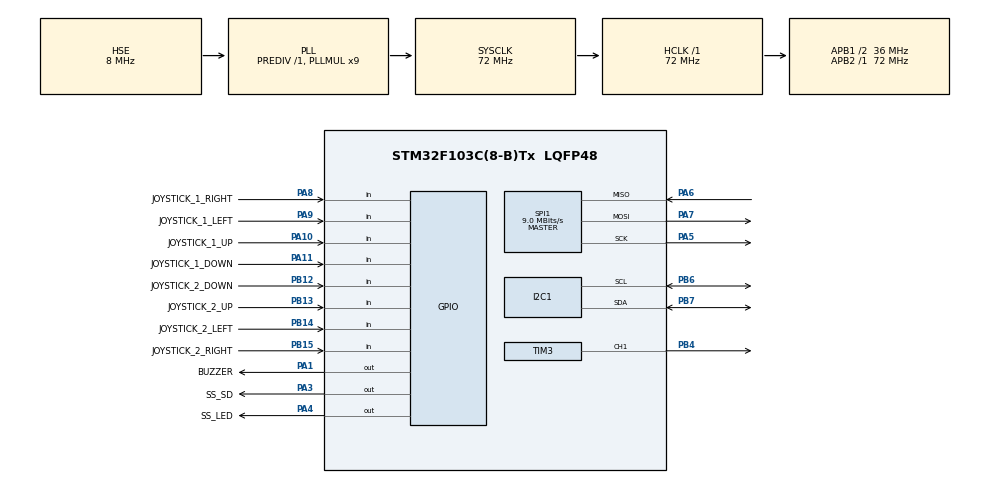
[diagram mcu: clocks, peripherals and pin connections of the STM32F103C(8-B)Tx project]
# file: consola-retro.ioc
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Mcu.Family=STM32F1
Mcu.Name=STM32F103C(8-B)Tx
Mcu.Package=LQFP48
NVIC.PriorityGroup=NVIC_PRIORITYGROUP_4
NVIC.TIM1_UP_IRQn=true\:15\:0\:false\:false\:true\:false\:true
NVIC.TimeBase=TIM1_UP_IRQn
NVIC.TimeBaseIP=TIM1
PA1.GPIO_Label=BUZZER
PA1.Signal=GPIO_Output
PA10.GPIO_Label=JOYSTICK_1_UP
PA10.Signal=GPIO_Input
PA11.GPIO_Label=JOYSTICK_1_DOWN
PA11.Signal=GPIO_Input
PA13.Mode=Serial_Wire
PA13.Signal=SYS_JTMS-SWDIO
PA14.Mode=Serial_Wire
PA14.Signal=SYS_JTCK-SWCLK
PA3.GPIO_Label=SS_SD
PA3.Signal=GPIO_Output
PA4.GPIO_Label=SS_LED
PA4.Signal=GPIO_Output
PA5.Mode=Full_Duplex_Master
PA5.Signal=SPI1_SCK
PA6.Mode=Full_Duplex_Master
PA6.Signal=SPI1_MISO
PA7.Mode=Full_Duplex_Master
PA7.Signal=SPI1_MOSI
PA8.GPIO_Label=JOYSTICK_1_RIGHT
PA8.Signal=GPIO_Input
PA9.GPIO_Label=JOYSTICK_1_LEFT
PA9.Signal=GPIO_Input
PB12.GPIO_Label=JOYSTICK_2_DOWN
PB12.Signal=GPIO_Input
PB13.GPIO_Label=JOYSTICK_2_UP
PB13.Signal=GPIO_Input
PB14.GPIO_Label=JOYSTICK_2_LEFT
PB14.Signal=GPIO_Input
PB15.GPIO_Label=JOYSTICK_2_RIGHT
PB15.Signal=GPIO_Input
PB4.Signal=S_TIM3_CH1
PB6.Mode=I2C
PB6.Signal=I2C1_SCL
PB7.Mode=I2C
PB7.Signal=I2C1_SDA
PD0-OSC_IN.Mode=HSE-External-Oscillator
PD0-OSC_IN.Signal=RCC_OSC_IN
PD1-OSC_OUT.Mode=HSE-External-Oscillator
PD1-OSC_OUT.Signal=RCC_OSC_OUT
ProjectManager.HeapSize=0x200
ProjectManager.StackSize=0x400
ProjectManager.TargetToolchain=STM32CubeIDE
RCC.AHBFreq_Value=72000000
RCC.APB1CLKDivider=RCC_HCLK_DIV2
RCC.APB1Freq_Value=36000000
RCC.APB1TimFreq_Value=72000000
RCC.APB2Freq_Value=72000000
RCC.APB2TimFreq_Value=72000000
RCC.HCLKFreq_Value=72000000
RCC.PLLMUL=RCC_PLL_MUL9
RCC.PLLSourceVirtual=RCC_PLLSOURCE_HSE
RCC.SYSCLKFreq_VALUE=72000000
RCC.SYSCLKSource=RCC_SYSCLKSOURCE_PLLCLK
RCC.USBFreq_Value=72000000
SH.S_TIM3_CH1.0=TIM3_CH1,PWM Generation1 CH1
SPI1.BaudRatePrescaler=SPI_BAUDRATEPRESCALER_8
SPI1.CalculateBaudRate=9.0 MBits/s
SPI1.Direction=SPI_DIRECTION_2LINES
SPI1.Mode=SPI_MODE_MASTER
SPI1.VirtualType=VM_MASTER
TIM3.Channel-PWM\ Generation1\ CH1=TIM_CHANNEL_1
TIM3.Period=20
TIM3.Prescaler=107
VP_RTC_VS_RTC_Activate.Mode=RTC_Enabled
VP_SYS_VS_tim1.Mode=TIM1
VP_TIM2_VS_ClockSourceINT.Mode=Internal
VP_TIM3_VS_ClockSourceINT.Mode=Internal
board=custom

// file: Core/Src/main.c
/* USER CODE BEGIN Header */
/**
  ******************************************************************************
  * @file           : main.c
  * @brief          : Main program body
  ******************************************************************************
  * @attention
  *
  * <h2><center>&copy; Copyright (c) 2023 STMicroelectronics.
  * All rights reserved.</center></h2>
  *
  * This software component is licensed by ST under BSD 3-Clause license,
  * the "License"; You may not use this file except in compliance with the
  * License. You may obtain a copy of the License at:
  *                        opensource.org/licenses/BSD-3-Clause
  *
  ******************************************************************************
  */
/* USER CODE END Header */
#include "main.h"

/* USER CODE BEGIN Includes */
#include "FreeRTOS.h"
#include "task.h"
#include "queue.h"

#include "DOT_MATRIX.h"
#include "lcd1602_i2c.h"
#include "joystick.h"
#include "menu.h"
#include "pong.h"
#include "snake.h"
#include "tetris.h"
#include "conway.h"
#include "buzzer.h"
#include <stdio.h>
/* USER CODE END Includes */

I2C_HandleTypeDef hi2c1;

RTC_HandleTypeDef hrtc;

SPI_HandleTypeDef hspi1;

TIM_HandleTypeDef htim2;
TIM_HandleTypeDef htim3;

/* USER CODE BEGIN PV */

QueueHandle_t joysticks_queue;
QueueHandle_t game_queue;
QueueHandle_t buzzer_queue;

/* USER CODE END PV */

void SystemClock_Config(void);
static void MX_GPIO_Init(void);
static void MX_I2C1_Init(void);
static void MX_SPI1_Init(void);
static void MX_TIM2_Init(void);
static void MX_TIM3_Init(void);
static void MX_RTC_Init(void);

/* USER CODE BEGIN 0 */

static void main_task(void *pvParameters){

	typedef enum {
		STATE_WELCOME_SHOW,
		STATE_WELCOME_DELAY,
		STATE_WELCOME_CLEAR,

		STATE_MENU_SHOW,
		STATE_MENU_HANDLE,
		STATE_MENU_CLEAR,

		STATE_GAME_0_MENU_SHOW,
		STATE_GAME_0_MENU_HANDLE,
		STATE_GAME_0_PLAY,
		STATE_GAME_0_RULES_SHOW,
		STATE_GAME_0_RULES_HANDLE,
		STATE_GAME_0_RECORDS_SHOW,
		STATE_GAME_0_RECORDS_HANDLE,

		STATE_GAME_1_MENU_SHOW,
		STATE_GAME_1_MENU_HANDLE,
		STATE_GAME_1_PLAY,
		STATE_GAME_1_RULES_SHOW,
		STATE_GAME_1_RULES_HANDLE,
		STATE_GAME_1_RECORDS_SHOW,
		STATE_GAME_1_RECORDS_HANDLE,

		STATE_GAME_2_MENU_SHOW,
		STATE_GAME_2_MENU_HANDLE,
		STATE_GAME_2_PLAY,
		STATE_GAME_2_RULES_SHOW,
		STATE_GAME_2_RULES_HANDLE,
		STATE_GAME_2_RECORDS_SHOW,
		STATE_GAME_2_RECORDS_HANDLE,

		STATE_GAME_3_MENU_SHOW,
		STATE_GAME_3_MENU_HANDLE,
		STATE_GAME_3_OPTIONS_SHOW,
		STATE_GAME_3_OPTIONS,
		STATE_GAME_3_PLAY,
		STATE_GAME_3_RULES_SHOW,
		STATE_GAME_3_RULES_HANDLE,
		STATE_GAME_3_RECORDS_SHOW,
		STATE_GAME_3_RECORDS_HANDLE,

		TEST_DIE
	} main_state_t;

	static main_state_t main_state = STATE_WELCOME_SHOW; //STATE_WELCOME_SHOW;
	static main_state_t next_state;
	static uint32_t start_ticks, delay_ticks;
	uint8_t buzzer_data;

	while(1){
		switch(main_state){
		case STATE_WELCOME_SHOW:
			if(lcd_progressive_print("                    ",
									 " CONSOLA DE JUEGOS  ",
									 "       RETRO        ",
									 "                    ",
									 FOUR_LINES)){
				delay_ticks = 2000;
				start_ticks = HAL_GetTick();
				buzzer_data = OPENING_MELODY;
				xQueueSendToBack(buzzer_queue, &buzzer_data, 0);
				main_state = STATE_WELCOME_DELAY;
			}
			break;
		case STATE_WELCOME_DELAY:
			if(HAL_GetTick() - start_ticks > delay_ticks){
				main_state = STATE_WELCOME_CLEAR;
			}
			break;
		case STATE_WELCOME_CLEAR:
			if(lcd_progressive_clear(FOUR_LINES)){
				main_state = STATE_MENU_SHOW;
			}
			break;
		case STATE_MENU_SHOW:
			if(lcd_progressive_print("   MENU PRINCIPAL   ",
									 "Seleccione un juego:",
									 "  Pong      Tetris  ",
									 "  Snake     Conway  ",
									 FOUR_LINES)){
				main_state = STATE_MENU_HANDLE;
			}
			break;
		case STATE_MENU_HANDLE:
			switch(menu_handle()){
			case 1:
				main_state = STATE_MENU_CLEAR;
				next_state = STATE_GAME_0_MENU_SHOW;
				break;
			case 2:
				main_state = STATE_MENU_CLEAR;
				next_state = STATE_GAME_1_MENU_SHOW;
				break;
			case 3:
				main_state = STATE_MENU_CLEAR;
				next_state = STATE_GAME_2_MENU_SHOW;
				break;
			case 4:
				main_state = STATE_MENU_CLEAR;
				next_state = STATE_GAME_3_MENU_SHOW;
				break;
			}
			break;
		case STATE_MENU_CLEAR:
			if(lcd_progressive_clear(FOUR_LINES)){
				main_state = next_state;
			}
			break;
		case STATE_GAME_0_MENU_SHOW:
			if(lcd_progressive_print("        PONG        ",
									 "Juego creado en 1972",
									 " Jugar      Reglas  ",
									 " Puntajes   Volver  ",
									 FOUR_LINES)){
				MATRIX_print_msg(MATRIX_DISPLAY_UNIT1, PONG_MSG);
				MATRIX_clear_buffer(MATRIX_DISPLAY_UNIT1);
				main_state = STATE_GAME_0_MENU_HANDLE;
			}
			break;
		case STATE_GAME_0_MENU_HANDLE:
			switch(menu_game_handle()){
			case 1: // jugar
				main_state = STATE_GAME_0_PLAY;
				break;
			case 2: // reglas
				main_state = STATE_GAME_0_RULES_SHOW;
				break;
			case 3: // puntajes
				main_state = STATE_GAME_0_RECORDS_SHOW;
				break;
			case 4: // volver
				MATRIX_print_msg(MATRIX_DISPLAY_UNIT1, WELCOME_MSG);
				MATRIX_clear_buffer(MATRIX_DISPLAY_UNIT1);
				main_state = STATE_WELCOME_CLEAR;
				break;
			}
			break;
		case STATE_GAME_0_PLAY:
			if(menu_game_play(0, "        PONG        ")){
				main_state = TEST_DIE;
			}
			break;
		case STATE_GAME_0_RULES_SHOW:
			if(lcd_progressive_print("El juego simula un  ",
									 "tenis de mesa. Cada ",
									 "jugador controla su ",
									 "   Jugar    Volver  ",
									 ONE_LINE)){
				main_state = STATE_GAME_0_RULES_HANDLE;

			}
			break;
		case STATE_GAME_0_RULES_HANDLE:
			switch(menu_rules_handle(0)){
			case 1: // jugar
				main_state = STATE_GAME_0_PLAY;
				break;
			case 2: // volver
				main_state = STATE_GAME_0_MENU_SHOW;
				break;
			}
			break;
			case STATE_GAME_0_RECORDS_SHOW:
				if(lcd_progressive_print("                    ",
										 "                    ",
										 "                    ",
										 "   Jugar    Volver  ",
										 FOUR_LINES)){
					main_state = STATE_GAME_0_RECORDS_HANDLE;

				}
				break;
			case STATE_GAME_0_RECORDS_HANDLE:
				switch(menu_records_handle(0)){
				case 1: // jugar
					main_state = STATE_GAME_0_PLAY;
					break;
				case 2: // volver
					main_state = STATE_GAME_0_MENU_SHOW;
					break;
				}
				break;
		case STATE_GAME_1_MENU_SHOW:
			if(lcd_progressive_print("       TETRIS       ",
									 "Juego creado en 1984",
									 " Jugar      Reglas  ",
									 " Puntajes   Volver  ",
									 FOUR_LINES)){
				MATRIX_print_msg(MATRIX_DISPLAY_UNIT1, TETRIS_MSG);
				MATRIX_clear_buffer(MATRIX_DISPLAY_UNIT1);
				main_state = STATE_GAME_1_MENU_HANDLE;
			}
			break;
		case STATE_GAME_1_MENU_HANDLE:
			switch(menu_game_handle()){
			case 1: // jugar
				main_state = STATE_GAME_1_PLAY;
				break;
			case 2: // reglas
				main_state = STATE_GAME_1_RULES_SHOW;
				break;
			case 3: // puntajes
				main_state = STATE_GAME_1_RECORDS_SHOW;
				break;
			case 4: // volver
				MATRIX_print_msg(MATRIX_DISPLAY_UNIT1, WELCOME_MSG);
				MATRIX_clear_buffer(MATRIX_DISPLAY_UNIT1);
				main_state = STATE_WELCOME_CLEAR;
				break;
			}
			break;
		case STATE_GAME_1_PLAY:
			if(menu_game_play(1, "       TETRIS       ")){
				main_state = TEST_DIE;
			}
			break;
		case STATE_GAME_1_RULES_SHOW:
			if(lcd_progressive_print("Desplaza la pieza a ",
									 "izquierda y derecha ",
									 "mientras cae. Para  ",
									 "   Jugar    Volver  ",
									 ONE_LINE)){
				main_state = STATE_GAME_1_RULES_HANDLE;
			}
			break;
		case STATE_GAME_1_RULES_HANDLE:
			switch(menu_rules_handle(1)){
			case 1: // jugar
				main_state = STATE_GAME_1_PLAY;
				break;
			case 2: // volver
				MATRIX_print_msg(MATRIX_DISPLAY_UNIT1, WELCOME_MSG);
				MATRIX_clear_buffer(MATRIX_DISPLAY_UNIT1);
				main_state = STATE_GAME_1_MENU_SHOW;
				break;
			}
			break;
		case STATE_GAME_1_RECORDS_SHOW:
			if(lcd_progressive_print("                    ",
									 "                    ",
									 "                    ",
									 "   Jugar    Volver  ",
									 FOUR_LINES)){
				main_state = STATE_GAME_1_RECORDS_HANDLE;

			}
			break;
		case STATE_GAME_1_RECORDS_HANDLE:
			switch(menu_records_handle(1)){
			case 1: // jugar
				main_state = STATE_GAME_1_PLAY;
				break;
			case 2: // volver
				main_state = STATE_GAME_1_MENU_SHOW;
				break;
			}
			break;
		case STATE_GAME_2_MENU_SHOW:
			if(lcd_progressive_print("       SNAKE        ",
									 "Juego creado en 1976",
									 " Jugar      Reglas  ",
									 " Puntajes   Volver  ",
									 FOUR_LINES)){
				MATRIX_print_msg(MATRIX_DISPLAY_UNIT1, SNAKE_MSG);
				MATRIX_clear_buffer(MATRIX_DISPLAY_UNIT1);
				main_state = STATE_GAME_2_MENU_HANDLE;
			}
			break;
		case STATE_GAME_2_MENU_HANDLE:
			switch(menu_game_handle()){
			case 1: // jugar
				main_state = STATE_GAME_2_PLAY;
				break;
			case 2: // reglas
				main_state = STATE_GAME_2_RULES_SHOW;
				break;
			case 3: // puntajes
				main_state = STATE_GAME_2_RECORDS_SHOW;
				break;
			case 4: // volver
				MATRIX_print_msg(MATRIX_DISPLAY_UNIT1, WELCOME_MSG);
				MATRIX_clear_buffer(MATRIX_DISPLAY_UNIT1);
				main_state = STATE_WELCOME_CLEAR;
				break;
			}
			break;
		case STATE_GAME_2_PLAY:
			if(menu_game_play(2, "       SNAKE        ")){
				main_state = TEST_DIE;
			}
			break;
		case STATE_GAME_2_RULES_SHOW:
			if(lcd_progressive_print("Controla la vibora  ",
									 "para comer las fruta",
									 "Si chocas con el bor",
									 "   Jugar    Volver  ",
									 ONE_LINE)){
				main_state = STATE_GAME_2_RULES_HANDLE;
			}
			break;
		case STATE_GAME_2_RULES_HANDLE:
			switch(menu_rules_handle(2)){
			case 1: // jugar
				main_state = STATE_GAME_2_PLAY;
				break;
			case 2: // volver
				main_state = STATE_GAME_2_MENU_SHOW;
				break;
			}
			break;
		case STATE_GAME_2_RECORDS_SHOW:
			if(lcd_progressive_print("                    ",
									 "                    ",
									 "                    ",
									 "   Jugar    Volver  ",
									 FOUR_LINES)){
				main_state = STATE_GAME_2_RECORDS_HANDLE;

			}
			break;
		case STATE_GAME_2_RECORDS_HANDLE:
			switch(menu_records_handle(2)){
			case 1: // jugar
				main_state = STATE_GAME_2_PLAY;
				break;
			case 2: // volver
				main_state = STATE_GAME_2_MENU_SHOW;
				break;
			}
			break;
		case STATE_GAME_3_MENU_SHOW:
			if(lcd_progressive_print("       CONWAY       ",
									 "Juego creado en 1970",
									 " Jugar      Reglas  ",
									 " Puntajes   Volver  ",
									 FOUR_LINES)){
				MATRIX_print_msg(MATRIX_DISPLAY_UNIT1, CONWAY_MSG);
				MATRIX_clear_buffer(MATRIX_DISPLAY_UNIT1);
				main_state = STATE_GAME_3_MENU_HANDLE;
			}
			break;
		case STATE_GAME_3_MENU_HANDLE:
			switch(menu_game_handle()){
			case 1: // opciones de juego conway
				main_state = STATE_GAME_3_OPTIONS_SHOW;
				break;
			case 2: // reglas
				main_state = STATE_GAME_3_RULES_SHOW;
				break;
			case 3: // puntajes
				main_state = STATE_GAME_3_RECORDS_SHOW;
				break;
			case 4: // volver
				MATRIX_print_msg(MATRIX_DISPLAY_UNIT1, WELCOME_MSG);
				MATRIX_clear_buffer(MATRIX_DISPLAY_UNIT1);
				main_state = STATE_WELCOME_CLEAR;
				break;
			}
			break;
		case STATE_GAME_3_OPTIONS_SHOW:
			if(lcd_progressive_print("       CONWAY       ",
									 "  Patron de inicio  ",
									 "  4-8-12   4 Glider ",
									 " Jason P22   Random ",
									 FOUR_LINES)){
				main_state = STATE_GAME_3_OPTIONS;
			}
			break;
		case STATE_GAME_3_OPTIONS:
			switch(menu_conway_options_handle()){
			case 1: // 4-8-12 diamond
				conway_init(CONWAY_DIAMOND4812);
				main_state = STATE_GAME_3_PLAY;
				break;
			case 2: // 4 Glider
				conway_init(CONWAY_GLIDER4);
				main_state = STATE_GAME_3_PLAY;
				break;
			case 3: // Jason P22
				conway_init(CONWAY_JASONP22);
				main_state = STATE_GAME_3_PLAY;
				break;
			case 4: // Random
				conway_init(CONWAY_RANDOM);
				main_state = STATE_GAME_3_PLAY;
				break;
			}
			break;

		case STATE_GAME_3_PLAY:
			switch(menu_game_play(3, "       CONWAY       ")){
			case 1:
				main_state = TEST_DIE;
				break;
			case 2:
				main_state = STATE_GAME_3_OPTIONS_SHOW;
				break;
			}
			break;
		case STATE_GAME_3_RULES_SHOW:
			if(lcd_progressive_print("Automata celular don",
									 "de las celulas evolu",
									 "cionan segun reglas ",
									 "   Jugar    Volver  ",
									 ONE_LINE)){
				main_state = STATE_GAME_3_RULES_HANDLE;
			}
			break;
		case STATE_GAME_3_RULES_HANDLE:
			switch(menu_rules_handle(3)){
			case 1: // jugar
				main_state = STATE_GAME_3_OPTIONS_SHOW;
				break;
			case 2: // volver
				main_state = STATE_GAME_3_MENU_SHOW;
				break;
			}
			break;
		case STATE_GAME_3_RECORDS_SHOW:
			if(lcd_progressive_print("  Puntajes Conway   ",
									 "                    ",
									 "                    ",
									 "   Jugar    Volver  ",
									 ONE_LINE)){
				main_state = STATE_GAME_3_RECORDS_HANDLE;

			}
			break;
		case STATE_GAME_3_RECORDS_HANDLE:
			switch(menu_records_handle(3)){
			case 1: // jugar
				main_state = STATE_GAME_3_PLAY;
				break;
			case 2: // volver
				main_state = STATE_GAME_3_MENU_SHOW;
				break;
			}
			break;
		case TEST_DIE:
			if(lcd_progressive_clear(FOUR_LINES)){
				main_state = STATE_MENU_SHOW;
			}
			break;
		}
	}
}

static void joysticks_task(void *pvParameters){

	uint8_t joystick;

	init_joysticks();

	while(1){
		joystick = read_joysticks();
		if(joystick != NONE){
			xQueueSendToBack(joysticks_queue, &joystick, portMAX_DELAY);
		}
	}
}

uint32_t my_rand(void){
	uint32_t y = HAL_GetTick();
	y^= y<<13;
	y^= y>>17;
	y^= y<<5;
	return y;
}

void pong_task(void *pvParameters){
	pong_init();
	while(1){
		pong_play();
	}
}

void snake_task(void *pvParameters){
	snake_init();
	while(1){
		snake_play();
	}
}

void tetris_task(void *pvParameters){
	while(1){
		tetris_play();
	}
}

void conway_task(void *pvParameters){
	while(1){
		conway_play();
	}
}

static void buzzer_task(void *pvParameters){
	while(1){
		buzzer_play();
	}
}

/* USER CODE END 0 */

int main(void)
{

  /* MCU Configuration--------------------------------------------------------*/

  /* Reset of all peripherals, Initializes the Flash interface and the Systick. */
  HAL_Init();

  /* Configure the system clock */
  SystemClock_Config();

  /* Initialize all configured peripherals */
  MX_GPIO_Init();
  MX_I2C1_Init();
  MX_SPI1_Init();
  MX_TIM2_Init();
  MX_TIM3_Init();
  MX_RTC_Init();
  /* USER CODE BEGIN 2 */

  joysticks_queue = xQueueCreate(1, sizeof(uint8_t));
  game_queue = xQueueCreate(1, sizeof(uint8_t));
  buzzer_queue = xQueueCreate(1, sizeof(uint8_t));

  lcd_init(&hi2c1);
  DOT_MATRIX_Init(&hspi1);
  HAL_TIM_PWM_Start(&htim3, TIM_CHANNEL_1);

  MATRIX_CLEAR(MATRIX_DISPLAY_UNIT1);
  MATRIX_print_msg(MATRIX_DISPLAY_UNIT1, WELCOME_MSG);
  MATRIX_clear_buffer(MATRIX_DISPLAY_UNIT1);

  /*HAL_RTCEx_BKUPWrite(&hrtc, 0, 0xFFFFFFFF);
  HAL_RTCEx_BKUPWrite(&hrtc, 1, 0xFFFFFFFF);
  HAL_RTCEx_BKUPWrite(&hrtc, 2, 0xFFFFFFFF);
  HAL_RTCEx_BKUPWrite(&hrtc, 3, 0xFFFFFFFF);
  HAL_RTCEx_BKUPWrite(&hrtc, 4, 0xFFFFFFFF);
  HAL_RTCEx_BKUPWrite(&hrtc, 5, 0xFFFFFFFF);
  HAL_RTCEx_BKUPWrite(&hrtc, 6, 0xFFFFFFFF);
  HAL_RTCEx_BKUPWrite(&hrtc, 7, 0xFFFFFFFF);
  HAL_RTCEx_BKUPWrite(&hrtc, 8, 0xFFFFFFFF);
  HAL_RTCEx_BKUPWrite(&hrtc, 9, 0xFFFFFFFF);*/

  xTaskCreate(main_task,
			  "main_task",
			  configMINIMAL_STACK_SIZE,
			  NULL,
			  1,
			  NULL);

  xTaskCreate(joysticks_task,
			  "joysticks_task",
			  configMINIMAL_STACK_SIZE,
			  NULL,
			  1,
			  NULL);

/*  xTaskCreate(buzzer_task,
			  "buzzer_task",
			  configMINIMAL_STACK_SIZE,
			  NULL,
			  1,
			  NULL);*/

  vTaskStartScheduler();

  /* USER CODE END 2 */

  /* Infinite loop */
  while (1)
  {

  }
}

void SystemClock_Config(void)
{
  RCC_OscInitTypeDef RCC_OscInitStruct = {0};
  RCC_ClkInitTypeDef RCC_ClkInitStruct = {0};
  RCC_PeriphCLKInitTypeDef PeriphClkInit = {0};

  /** Initializes the RCC Oscillators according to the specified parameters
  * in the RCC_OscInitTypeDef structure.
  */
  RCC_OscInitStruct.OscillatorType = RCC_OSCILLATORTYPE_LSI|RCC_OSCILLATORTYPE_HSE;
  RCC_OscInitStruct.HSEState = RCC_HSE_ON;
  RCC_OscInitStruct.HSEPredivValue = RCC_HSE_PREDIV_DIV1;
  RCC_OscInitStruct.HSIState = RCC_HSI_ON;
  RCC_OscInitStruct.LSIState = RCC_LSI_ON;
  RCC_OscInitStruct.PLL.PLLState = RCC_PLL_ON;
  RCC_OscInitStruct.PLL.PLLSource = RCC_PLLSOURCE_HSE;
  RCC_OscInitStruct.PLL.PLLMUL = RCC_PLL_MUL9;
  if (HAL_RCC_OscConfig(&RCC_OscInitStruct) != HAL_OK)
  {
    Error_Handler();
  }
  /** Initializes the CPU, AHB and APB buses clocks
  */
  RCC_ClkInitStruct.ClockType = RCC_CLOCKTYPE_HCLK|RCC_CLOCKTYPE_SYSCLK
                              |RCC_CLOCKTYPE_PCLK1|RCC_CLOCKTYPE_PCLK2;
  RCC_ClkInitStruct.SYSCLKSource = RCC_SYSCLKSOURCE_PLLCLK;
  RCC_ClkInitStruct.AHBCLKDivider = RCC_SYSCLK_DIV1;
  RCC_ClkInitStruct.APB1CLKDivider = RCC_HCLK_DIV2;
  RCC_ClkInitStruct.APB2CLKDivider = RCC_HCLK_DIV1;

  if (HAL_RCC_ClockConfig(&RCC_ClkInitStruct, FLASH_LATENCY_2) != HAL_OK)
  {
    Error_Handler();
  }
  PeriphClkInit.PeriphClockSelection = RCC_PERIPHCLK_RTC;
  PeriphClkInit.RTCClockSelection = RCC_RTCCLKSOURCE_LSI;
  if (HAL_RCCEx_PeriphCLKConfig(&PeriphClkInit) != HAL_OK)
  {
    Error_Handler();
  }
}

static void MX_I2C1_Init(void)
{

  hi2c1.Instance = I2C1;
  hi2c1.Init.ClockSpeed = 100000;
  hi2c1.Init.DutyCycle = I2C_DUTYCYCLE_2;
  hi2c1.Init.OwnAddress1 = 0;
  hi2c1.Init.AddressingMode = I2C_ADDRESSINGMODE_7BIT;
  hi2c1.Init.DualAddressMode = I2C_DUALADDRESS_DISABLE;
  hi2c1.Init.OwnAddress2 = 0;
  hi2c1.Init.GeneralCallMode = I2C_GENERALCALL_DISABLE;
  hi2c1.Init.NoStretchMode = I2C_NOSTRETCH_DISABLE;
  if (HAL_I2C_Init(&hi2c1) != HAL_OK)
  {
    Error_Handler();
  }

}

static void MX_RTC_Init(void)
{

  /** Initialize RTC Only
  */
  hrtc.Instance = RTC;
  hrtc.Init.AsynchPrediv = RTC_AUTO_1_SECOND;
  hrtc.Init.OutPut = RTC_OUTPUTSOURCE_ALARM;
  if (HAL_RTC_Init(&hrtc) != HAL_OK)
  {
    Error_Handler();
  }

}

static void MX_SPI1_Init(void)
{

  /* USER CODE BEGIN SPI1_Init 0 */
////
  /* USER CODE END SPI1_Init 0 */

  /* USER CODE BEGIN SPI1_Init 1 */
////
  /* USER CODE END SPI1_Init 1 */
  /* SPI1 parameter configuration*/
  hspi1.Instance = SPI1;
  hspi1.Init.Mode = SPI_MODE_MASTER;
  hspi1.Init.Direction = SPI_DIRECTION_2LINES;
  hspi1.Init.DataSize = SPI_DATASIZE_8BIT;
  hspi1.Init.CLKPolarity = SPI_POLARITY_LOW;
  hspi1.Init.CLKPhase = SPI_PHASE_1EDGE;
  hspi1.Init.NSS = SPI_NSS_SOFT;
  hspi1.Init.BaudRatePrescaler = SPI_BAUDRATEPRESCALER_8;
  hspi1.Init.FirstBit = SPI_FIRSTBIT_MSB;
  hspi1.Init.TIMode = SPI_TIMODE_DISABLE;
  hspi1.Init.CRCCalculation = SPI_CRCCALCULATION_DISABLE;
  hspi1.Init.CRCPolynomial = 10;
  if (HAL_SPI_Init(&hspi1) != HAL_OK)
  {
    Error_Handler();
  }
  /* USER CODE BEGIN SPI1_Init 2 */
////
  /* USER CODE END SPI1_Init 2 */

}

static void MX_TIM2_Init(void)
{

  /* USER CODE BEGIN TIM2_Init 0 */
//////
  /* USER CODE END TIM2_Init 0 */

  TIM_ClockConfigTypeDef sClockSourceConfig = {0};
  TIM_MasterConfigTypeDef sMasterConfig = {0};

  /* USER CODE BEGIN TIM2_Init 1 */
//////
  /* USER CODE END TIM2_Init 1 */
  htim2.Instance = TIM2;
  htim2.Init.Prescaler = 0;
  htim2.Init.CounterMode = TIM_COUNTERMODE_UP;
  htim2.Init.Period = 65535;
  htim2.Init.ClockDivision = TIM_CLOCKDIVISION_DIV1;
  htim2.Init.AutoReloadPreload = TIM_AUTORELOAD_PRELOAD_DISABLE;
  if (HAL_TIM_Base_Init(&htim2) != HAL_OK)
  {
    Error_Handler();
  }
  sClockSourceConfig.ClockSource = TIM_CLOCKSOURCE_INTERNAL;
  if (HAL_TIM_ConfigClockSource(&htim2, &sClockSourceConfig) != HAL_OK)
  {
    Error_Handler();
  }
  sMasterConfig.MasterOutputTrigger = TIM_TRGO_RESET;
  sMasterConfig.MasterSlaveMode = TIM_MASTERSLAVEMODE_DISABLE;
  if (HAL_TIMEx_MasterConfigSynchronization(&htim2, &sMasterConfig) != HAL_OK)
  {
    Error_Handler();
  }
  /* USER CODE BEGIN TIM2_Init 2 */
//////
  /* USER CODE END TIM2_Init 2 */

}

static void MX_TIM3_Init(void)
{

  TIM_ClockConfigTypeDef sClockSourceConfig = {0};
  TIM_MasterConfigTypeDef sMasterConfig = {0};
  TIM_OC_InitTypeDef sConfigOC = {0};

  htim3.Instance = TIM3;
  htim3.Init.Prescaler = 107;
  htim3.Init.CounterMode = TIM_COUNTERMODE_UP;
  htim3.Init.Period = 20;
  htim3.Init.ClockDivision = TIM_CLOCKDIVISION_DIV1;
  htim3.Init.AutoReloadPreload = TIM_AUTORELOAD_PRELOAD_DISABLE;
  if (HAL_TIM_Base_Init(&htim3) != HAL_OK)
  {
    Error_Handler();
  }
  sClockSourceConfig.ClockSource = TIM_CLOCKSOURCE_INTERNAL;
  if (HAL_TIM_ConfigClockSource(&htim3, &sClockSourceConfig) != HAL_OK)
  {
    Error_Handler();
  }
  if (HAL_TIM_PWM_Init(&htim3) != HAL_OK)
  {
    Error_Handler();
  }
  sMasterConfig.MasterOutputTrigger = TIM_TRGO_RESET;
  sMasterConfig.MasterSlaveMode = TIM_MASTERSLAVEMODE_DISABLE;
  if (HAL_TIMEx_MasterConfigSynchronization(&htim3, &sMasterConfig) != HAL_OK)
  {
    Error_Handler();
  }
  sConfigOC.OCMode = TIM_OCMODE_PWM1;
  sConfigOC.Pulse = 0;
  sConfigOC.OCPolarity = TIM_OCPOLARITY_HIGH;
  sConfigOC.OCFastMode = TIM_OCFAST_DISABLE;
  if (HAL_TIM_PWM_ConfigChannel(&htim3, &sConfigOC, TIM_CHANNEL_1) != HAL_OK)
  {
    Error_Handler();
  }
  HAL_TIM_MspPostInit(&htim3);

}

static void MX_GPIO_Init(void)
{
  GPIO_InitTypeDef GPIO_InitStruct = {0};

  /* GPIO Ports Clock Enable */
  __HAL_RCC_GPIOD_CLK_ENABLE();
  __HAL_RCC_GPIOA_CLK_ENABLE();
  __HAL_RCC_GPIOB_CLK_ENABLE();

  /*Configure GPIO pin Output Level */
  HAL_GPIO_WritePin(GPIOA, BUZZER_Pin|SS_SD_Pin|SS_LED_Pin, GPIO_PIN_RESET);

  /*Configure GPIO pins : BUZZER_Pin SS_SD_Pin SS_LED_Pin */
  GPIO_InitStruct.Pin = BUZZER_Pin|SS_SD_Pin|SS_LED_Pin;
  GPIO_InitStruct.Mode = GPIO_MODE_OUTPUT_PP;
  GPIO_InitStruct.Pull = GPIO_NOPULL;
  GPIO_InitStruct.Speed = GPIO_SPEED_FREQ_LOW;
  HAL_GPIO_Init(GPIOA, &GPIO_InitStruct);

  /*Configure GPIO pins : JOYSTICK_2_DOWN_Pin JOYSTICK_2_UP_Pin JOYSTICK_2_LEFT_Pin JOYSTICK_2_RIGHT_Pin */
  GPIO_InitStruct.Pin = JOYSTICK_2_DOWN_Pin|JOYSTICK_2_UP_Pin|JOYSTICK_2_LEFT_Pin|JOYSTICK_2_RIGHT_Pin;
  GPIO_InitStruct.Mode = GPIO_MODE_INPUT;
  GPIO_InitStruct.Pull = GPIO_NOPULL;
  HAL_GPIO_Init(GPIOB, &GPIO_InitStruct);

  /*Configure GPIO pins : JOYSTICK_1_RIGHT_Pin JOYSTICK_1_LEFT_Pin JOYSTICK_1_UP_Pin JOYSTICK_1_DOWN_Pin */
  GPIO_InitStruct.Pin = JOYSTICK_1_RIGHT_Pin|JOYSTICK_1_LEFT_Pin|JOYSTICK_1_UP_Pin|JOYSTICK_1_DOWN_Pin;
  GPIO_InitStruct.Mode = GPIO_MODE_INPUT;
  GPIO_InitStruct.Pull = GPIO_NOPULL;
  HAL_GPIO_Init(GPIOA, &GPIO_InitStruct);

}

void HAL_TIM_PeriodElapsedCallback(TIM_HandleTypeDef *htim)
{
  /* USER CODE BEGIN Callback 0 */

	//MATRIX_TMR_OVF_ISR(htim);

  /* USER CODE END Callback 0 */
  if (htim->Instance == TIM1) {
    HAL_IncTick();
  }
}

void Error_Handler(void)
{
  __disable_irq();
  while (1)
  {
  }
}

/************************ (C) COPYRIGHT STMicroelectronics *****END OF FILE****/
